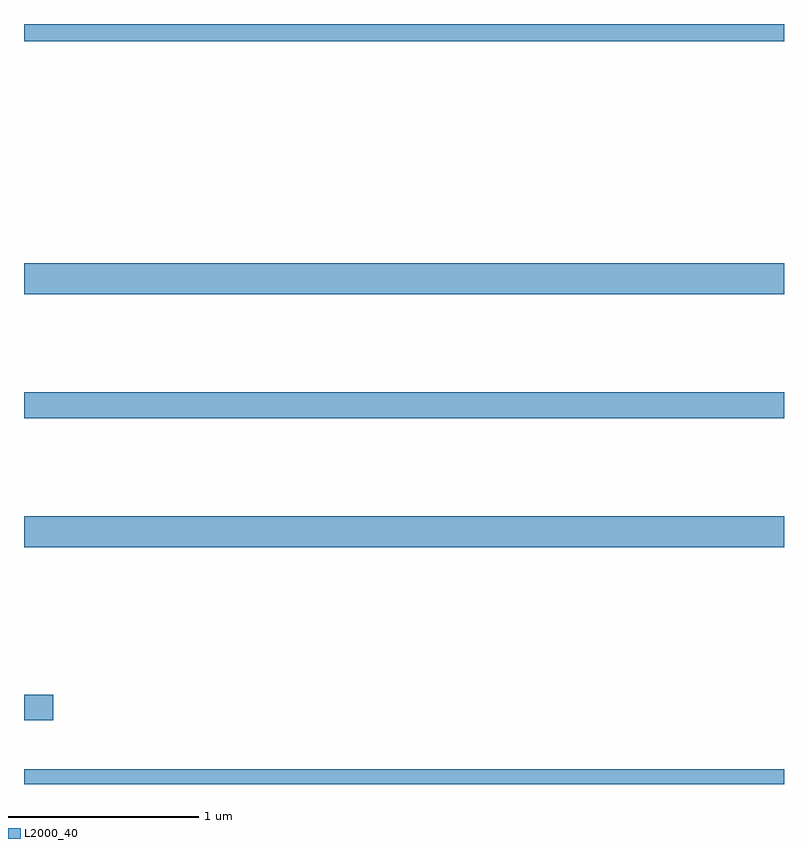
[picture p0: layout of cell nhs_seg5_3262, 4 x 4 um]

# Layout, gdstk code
import gdstk
lib = gdstk.Library(unit=1e-6, precision=1e-09)
def R(c, l, rs):  # rectangles x0, y0, x1, y1
    for r in rs: c.add(gdstk.rectangle(r[:2], r[2:], *l))
L2000_40 = (2000, 40)

nhs_seg5_3262 = lib.new_cell('nhs_seg5_3262')
R(nhs_seg5_3262, L2000_40, [(299,904.799,303,904.876), (299,905.135,299.155,905.27), (299,906.044,303,906.208), (299,906.724,303,906.86), (299,907.376,303,907.54), (299,908.708,303,908.799)])

lib.write_gds('nhs_seg5_3262.gds')
